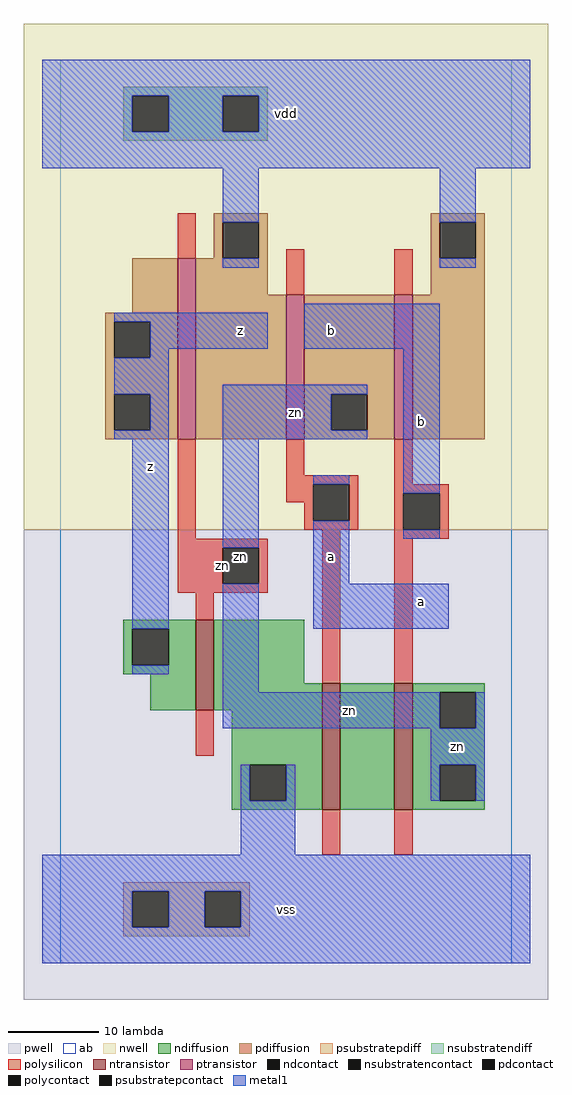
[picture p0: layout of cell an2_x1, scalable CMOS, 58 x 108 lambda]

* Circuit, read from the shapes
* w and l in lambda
.subckt an2_x1 a b vdd vss z zn
M1 vss zn z vss nfet w=10 l=2
M2 n1 a vss vss nfet w=14 l=2
M3 zn b n1 vss nfet w=14 l=2
M4 vdd zn z vdd pfet w=20 l=2
M5 zn a vdd vdd pfet w=16 l=2
M6 vdd b zn vdd pfet w=16 l=2
.ends

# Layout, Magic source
magic
tech scmos
<< ab >>
rect 0 0 50 100
<< pwell >>
rect -4 -4 54 48
<< nwell >>
rect -4 48 54 104
<< polysilicon >>
rect 13 78 15 83
rect 25 74 27 79
rect 37 74 39 79
rect 13 47 15 58
rect 25 54 27 58
rect 25 53 33 54
rect 25 51 28 53
rect 27 49 28 51
rect 32 49 33 53
rect 27 48 33 49
rect 37 53 39 58
rect 37 52 43 53
rect 37 48 38 52
rect 42 48 43 52
rect 13 46 23 47
rect 13 42 18 46
rect 22 42 23 46
rect 13 41 23 42
rect 15 38 17 41
rect 29 31 31 48
rect 37 47 43 48
rect 37 31 39 47
rect 15 23 17 28
rect 29 12 31 17
rect 37 12 39 17
<< ndiffusion >>
rect 7 37 15 38
rect 7 33 8 37
rect 12 33 15 37
rect 7 32 15 33
rect 10 28 15 32
rect 17 31 27 38
rect 17 28 29 31
rect 19 22 29 28
rect 19 18 21 22
rect 25 18 29 22
rect 19 17 29 18
rect 31 17 37 31
rect 39 30 47 31
rect 39 26 42 30
rect 46 26 47 30
rect 39 22 47 26
rect 39 18 42 22
rect 46 18 47 22
rect 39 17 47 18
<< pdiffusion >>
rect 17 82 23 83
rect 17 78 18 82
rect 22 78 23 82
rect 41 82 47 83
rect 8 72 13 78
rect 5 71 13 72
rect 5 67 6 71
rect 10 67 13 71
rect 5 63 13 67
rect 5 59 6 63
rect 10 59 13 63
rect 5 58 13 59
rect 15 74 23 78
rect 41 78 42 82
rect 46 78 47 82
rect 41 74 47 78
rect 15 58 25 74
rect 27 63 37 74
rect 27 59 30 63
rect 34 59 37 63
rect 27 58 37 59
rect 39 58 47 74
<< metal1 >>
rect -2 96 52 100
rect -2 92 8 96
rect 12 92 18 96
rect 22 92 52 96
rect -2 88 52 92
rect 18 82 22 88
rect 18 77 22 78
rect 42 82 46 88
rect 42 77 46 78
rect 6 71 23 72
rect 10 68 23 71
rect 27 68 42 73
rect 10 67 12 68
rect 6 63 12 67
rect 10 59 12 63
rect 6 58 12 59
rect 8 37 12 58
rect 8 32 12 33
rect 18 63 34 64
rect 18 59 30 63
rect 18 58 34 59
rect 18 46 22 58
rect 18 30 22 42
rect 28 53 32 54
rect 28 42 32 49
rect 38 52 42 68
rect 38 47 42 48
rect 28 37 43 42
rect 18 26 42 30
rect 46 26 47 30
rect 41 22 47 26
rect 20 18 21 22
rect 25 18 26 22
rect 41 18 42 22
rect 46 18 47 22
rect 20 12 26 18
rect -2 8 52 12
rect -2 4 8 8
rect 12 4 16 8
rect 20 4 52 8
rect -2 0 52 4
<< ntransistor >>
rect 15 28 17 38
rect 29 17 31 31
rect 37 17 39 31
<< ptransistor >>
rect 13 58 15 78
rect 25 58 27 74
rect 37 58 39 74
<< polycontact >>
rect 28 49 32 53
rect 38 48 42 52
rect 18 42 22 46
<< ndcontact >>
rect 8 33 12 37
rect 21 18 25 22
rect 42 26 46 30
rect 42 18 46 22
<< pdcontact >>
rect 18 78 22 82
rect 6 67 10 71
rect 6 59 10 63
rect 42 78 46 82
rect 30 59 34 63
<< psubstratepcontact >>
rect 8 4 12 8
rect 16 4 20 8
<< nsubstratencontact >>
rect 8 92 12 96
rect 18 92 22 96
<< psubstratepdiff >>
rect 7 8 21 9
rect 7 4 8 8
rect 12 4 16 8
rect 20 4 21 8
rect 7 3 21 4
<< nsubstratendiff >>
rect 7 96 23 97
rect 7 92 8 96
rect 12 92 18 96
rect 22 92 23 96
rect 7 91 23 92
<< labels >>
rlabel polysilicon 18 44 18 44 6 zn
rlabel polycontact 20 45 20 45 6 zn
rlabel metal1 10 55 10 55 6 z
rlabel metal1 20 70 20 70 6 z
rlabel metal1 25 6 25 6 6 vss
rlabel metal1 30 45 30 45 6 a
rlabel metal1 26 61 26 61 6 zn
rlabel metal1 30 70 30 70 6 b
rlabel metal1 25 94 25 94 6 vdd
rlabel metal1 44 24 44 24 6 zn
rlabel metal1 32 28 32 28 6 zn
rlabel metal1 40 40 40 40 6 a
rlabel metal1 40 60 40 60 6 b
<< end >>
